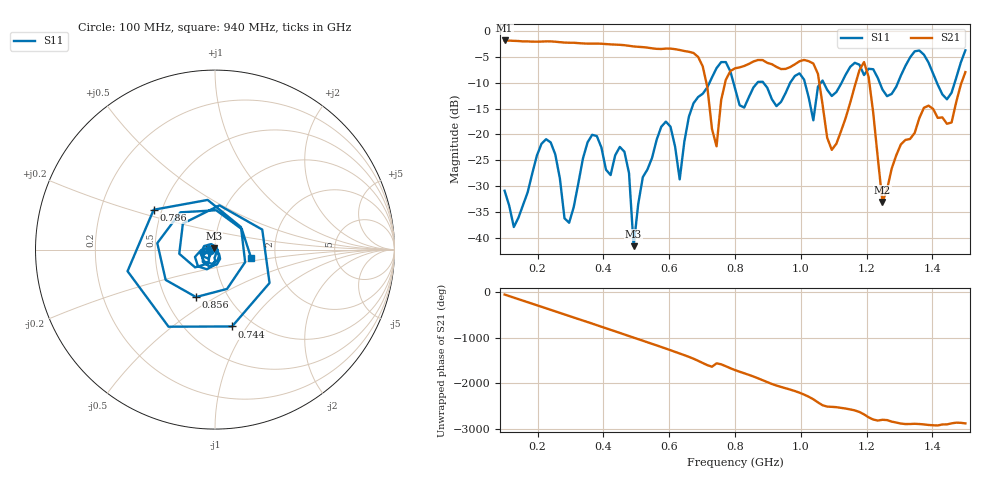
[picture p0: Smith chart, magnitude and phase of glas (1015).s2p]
! NanoVNA-App
! Date: 2025-09-25 16:03:22
! Start: 100MHz Stop: 1,5GHz Points: 101
! S-Parameter data: F S11 S21 S12 S22
# Hz S RI R 50
!  Frequency  S11_Real  S11_Imag  S21_Real  S21_Imag  S12_Real  S12_Imag  S22_Real  S22_Imag
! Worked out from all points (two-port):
!   101 points, 100 MHz to 1.5 GHz, reference 50 ohm
!   highest |S21| = -1.80 dB at 100 MHz (marker M1); lowest = -33.1 dB at 1.248 GHz (marker M2)
!   |S21| within 3 dB of the highest: start of sweep to 684.5 MHz
!   lowest |S11| = -41.6 dB at 492 MHz (marker M3), VSWR 1.02, Z = 49.4 + j0.61 ohm
!   |S11| at or under -10 dB: start of sweep to 722.4 MHz; 795.4 MHz to 867.7 MHz (72.3 MHz wide, 8.69 % of centre); 886.4 MHz to 967.7 MHz (81.24 MHz wide, 8.76 % of centre) (the widest 3 of 7)
!   S12 and S22 are empty: the file has one direction only
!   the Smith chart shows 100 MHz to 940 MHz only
!   S11 on the Smith chart (normalised r, x): 100 MHz: 0.94, -0.01; 744 MHz: 0.81, -0.85; 786 MHz: 0.45, +0.24; 856 MHz: 0.71, -0.41; 940 MHz: 1.50, -0.15
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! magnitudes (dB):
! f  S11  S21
! 100 MHz  -30.9  -1.8
! 128 MHz  -37.9  -1.9
! 226 MHz  -20.9  -2.0
! 296 MHz  -37.1  -2.2
! 338 MHz  -24.7  -2.4
! 464 MHz  -23.4  -2.7
! 492 MHz  -41.6  -3.0
! 576 MHz  -18.5  -3.5
! 632 MHz  -28.7  -3.7
! 702 MHz  -12.1  -6.8
! 744 MHz  -7.2  -22.3
! 786 MHz  -7.8  -7.7
! 800 MHz  -11.1  -7.2
! 856 MHz  -10.9  -5.9
! 940 MHz  -13.7  -7.3
! 996 MHz  -8.2  -5.8
! 1.038 GHz  -17.3  -6.3
! 1.094 GHz  -12.6  -23.0
! 1.192 GHz  -8.5  -6.0
! 1.248 GHz  -11.3  -33.1
! 1.276 GHz  -12.2  -26.6
! 1.5 GHz  -3.7  -7.9
